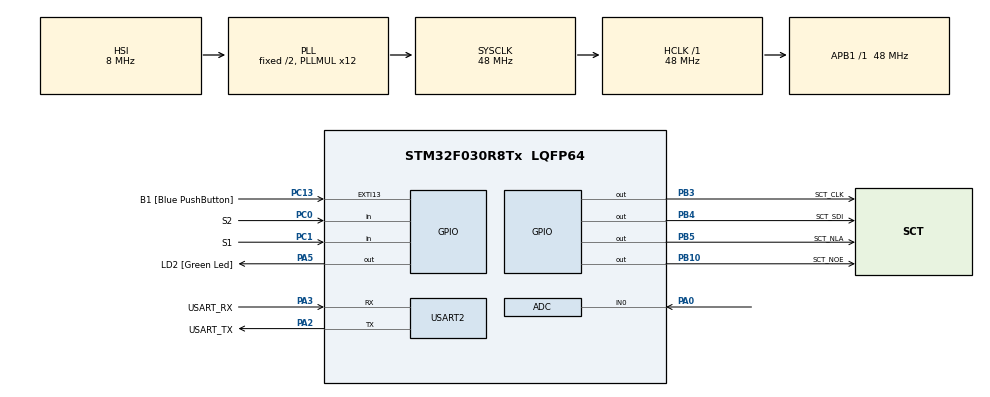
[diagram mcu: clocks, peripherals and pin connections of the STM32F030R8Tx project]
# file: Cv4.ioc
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ADC.ContinuousConvMode=ENABLE
ADC.Overrun=ADC_OVR_DATA_OVERWRITTEN
ADC.SamplingTime=ADC_SAMPLETIME_239CYCLES_5
Mcu.Family=STM32F0
Mcu.Name=STM32F030R8Tx
Mcu.Package=LQFP64
NVIC.ADC1_IRQn=true\:0\:0\:false\:false\:true\:true\:true\:true
PA0.Mode=IN0
PA0.Signal=ADC_IN0
PA13.GPIO_Label=TMS
PA13.Mode=Serial_Wire
PA13.Signal=SYS_SWDIO
PA14.GPIO_Label=TCK
PA14.Mode=Serial_Wire
PA14.Signal=SYS_SWCLK
PA2.GPIO_Label=USART_TX
PA2.GPIO_Mode=GPIO_MODE_AF_PP
PA2.GPIO_PuPd=GPIO_NOPULL
PA2.GPIO_Speed=GPIO_SPEED_FREQ_LOW
PA2.Mode=Asynchronous
PA2.Signal=USART2_TX
PA3.GPIO_Label=USART_RX
PA3.GPIO_Mode=GPIO_MODE_AF_PP
PA3.GPIO_PuPd=GPIO_NOPULL
PA3.GPIO_Speed=GPIO_SPEED_FREQ_LOW
PA3.Mode=Asynchronous
PA3.Signal=USART2_RX
PA5.GPIO_Label=LD2 [Green Led]
PA5.GPIO_Mode=GPIO_MODE_OUTPUT_PP
PA5.GPIO_PuPd=GPIO_NOPULL
PA5.GPIO_Speed=GPIO_SPEED_FREQ_LOW
PA5.Signal=GPIO_Output
PB10.GPIO_Label=SCT_NOE
PB10.Signal=GPIO_Output
PB3.GPIO_Label=SCT_CLK
PB3.Signal=GPIO_Output
PB4.GPIO_Label=SCT_SDI
PB4.Signal=GPIO_Output
PB5.GPIO_Label=SCT_NLA
PB5.Signal=GPIO_Output
PC0.GPIO_Label=S2
PC0.GPIO_PuPd=GPIO_PULLUP
PC0.Signal=GPIO_Input
PC1.GPIO_Label=S1
PC1.GPIO_PuPd=GPIO_PULLUP
PC1.Signal=GPIO_Input
PC13.GPIO_Label=B1 [Blue PushButton]
PC13.GPIO_ModeDefaultEXTI=GPIO_MODE_IT_FALLING
PC13.Signal=GPXTI13
PC14-OSC32_IN.Mode=LSE-External-Oscillator
PC14-OSC32_IN.Signal=RCC_OSC32_IN
PC15-OSC32_OUT.Mode=LSE-External-Oscillator
PC15-OSC32_OUT.Signal=RCC_OSC32_OUT
PF0-OSC_IN.Mode=HSE-External-Clock-Source
PF0-OSC_IN.Signal=RCC_OSC_IN
PF1-OSC_OUT.Signal=RCC_OSC_OUT
ProjectManager.HeapSize=0x200
ProjectManager.StackSize=0x400
ProjectManager.TargetToolchain=STM32CubeIDE
RCC.AHBFreq_Value=48000000
RCC.APB1Freq_Value=48000000
RCC.APB1TimFreq_Value=48000000
RCC.HCLKFreq_Value=48000000
RCC.PLLMUL=RCC_PLL_MUL12
RCC.SYSCLKFreq_VALUE=48000000
RCC.SYSCLKSource=RCC_SYSCLKSOURCE_PLLCLK
USART2.VirtualMode-Asynchronous=VM_ASYNC
VP_ADC_TempSens_Input.Mode=IN-TempSens
VP_ADC_Vref_Input.Mode=IN-Vrefint
board=NUCLEO-F030R8

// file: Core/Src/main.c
/* USER CODE BEGIN Header */
/**
  ******************************************************************************
  * @file           : main.c
  * @brief          : Main program body
  ******************************************************************************
  * @attention
  *
  * Copyright (c) 2023 STMicroelectronics.
  * All rights reserved.
  *
  * This software is licensed under terms that can be found in the LICENSE file
  * in the root directory of this software component.
  * If no LICENSE file comes with this software, it is provided AS-IS.
  *
  ******************************************************************************
  */
/* USER CODE END Header */
#include "main.h"

/* USER CODE BEGIN Includes */
#include "sct.h"
/* USER CODE END Includes */

ADC_HandleTypeDef hadc;

UART_HandleTypeDef huart2;

/* USER CODE BEGIN PV */
  static volatile uint32_t raw_pot;

  static volatile uint32_t raw_temp;
  static volatile uint32_t raw_volt;

/* USER CODE END PV */

void SystemClock_Config(void);
static void MX_GPIO_Init(void);
static void MX_USART2_UART_Init(void);
static void MX_ADC_Init(void);

/* USER CODE BEGIN 0 */

  void HAL_ADC_ConvCpltCallback(ADC_HandleTypeDef* hadc)
  {
	  static uint32_t channel =0;
	  static uint32_t avg_pot;

	  switch(channel) {
	  case 0:

		  raw_pot = avg_pot >> 12;
		  avg_pot -= raw_pot;
		  avg_pot += HAL_ADC_GetValue(hadc);
		  break;
	  case 1:
		  raw_temp=HAL_ADC_GetValue(hadc);

		  break;
	  case 2:
		  raw_volt=HAL_ADC_GetValue(hadc);

		  break;
	  }
	  if(__HAL_ADC_GET_FLAG(hadc, ADC_FLAG_EOS)) channel = 0;
	  else channel++;

  }

/* USER CODE END 0 */

int main(void)
{

  /* MCU Configuration--------------------------------------------------------*/

  /* Reset of all peripherals, Initializes the Flash interface and the Systick. */
  HAL_Init();

  /* Configure the system clock */
  SystemClock_Config();

  /* Initialize all configured peripherals */
  MX_GPIO_Init();
  MX_USART2_UART_Init();
  MX_ADC_Init();
  /* USER CODE BEGIN 2 */
  	  sct_init();
  	  HAL_ADCEx_Calibration_Start(&hadc);
  	  HAL_ADC_Start_IT(&hadc);

  	  /* Temperature sensor calibration value address */
#define TEMP110_CAL_ADDR ((uint16_t*) ((uint32_t) 0x1FFFF7C2))
#define TEMP30_CAL_ADDR ((uint16_t*) ((uint32_t) 0x1FFFF7B8))
  	  /* Internal voltage reference calibration value address */
#define VREFINT_CAL_ADDR ((uint16_t*) ((uint32_t) 0x1FFFF7BA))

  	  static enum { SHOW_POT, SHOW_VOLT, SHOW_TEMP } state = SHOW_POT;

  /* USER CODE END 2 */

  /* Infinite loop */
  while (1)
  {

    /* USER CODE BEGIN 3 */

	  //determine state of buttons
	  if (HAL_GPIO_ReadPin(S1_GPIO_Port,S1_Pin)==0){
		  state=SHOW_VOLT; //S1 - voltage
	  }else if(HAL_GPIO_ReadPin(S2_GPIO_Port,S2_Pin)==0) {
		  state=SHOW_TEMP; //S2 - temp
	  }

	  //state machine
	  switch(state){
	  case SHOW_POT:
		  sct_value((raw_pot*(500-1))/4096,((raw_pot*9)/4096));
		  HAL_Delay(500);
		  break;
	  case SHOW_VOLT:
		  uint32_t voltage = 330 * (*VREFINT_CAL_ADDR) / raw_volt;
		  sct_value(voltage,4);
		/*  if(HAL_GetTick()>1000){
			  state=SHOW_POT;
		  }*/
		  break;
	  case SHOW_TEMP:
		  int32_t temperature = (raw_temp - (int32_t)(*TEMP30_CAL_ADDR));
		  temperature = temperature * (int32_t)(110 - 30);
		  temperature = temperature / (int32_t)(*TEMP110_CAL_ADDR - *TEMP30_CAL_ADDR);
		  temperature = temperature + 30;
		  sct_value(temperature,7);
		/*  if(HAL_GetTick()>1000){
			  state=SHOW_POT;
		  }*/

		  break;
	  }

  }
  	  /* USER CODE END 3 */
}

void SystemClock_Config(void)
{
  RCC_OscInitTypeDef RCC_OscInitStruct = {0};
  RCC_ClkInitTypeDef RCC_ClkInitStruct = {0};

  /** Initializes the RCC Oscillators according to the specified parameters
  * in the RCC_OscInitTypeDef structure.
  */
  RCC_OscInitStruct.OscillatorType = RCC_OSCILLATORTYPE_HSI|RCC_OSCILLATORTYPE_HSI14;
  RCC_OscInitStruct.HSIState = RCC_HSI_ON;
  RCC_OscInitStruct.HSI14State = RCC_HSI14_ON;
  RCC_OscInitStruct.HSICalibrationValue = RCC_HSICALIBRATION_DEFAULT;
  RCC_OscInitStruct.HSI14CalibrationValue = 16;
  RCC_OscInitStruct.PLL.PLLState = RCC_PLL_ON;
  RCC_OscInitStruct.PLL.PLLSource = RCC_PLLSOURCE_HSI;
  RCC_OscInitStruct.PLL.PLLMUL = RCC_PLL_MUL12;
  RCC_OscInitStruct.PLL.PREDIV = RCC_PREDIV_DIV1;
  if (HAL_RCC_OscConfig(&RCC_OscInitStruct) != HAL_OK)
  {
    Error_Handler();
  }

  /** Initializes the CPU, AHB and APB buses clocks
  */
  RCC_ClkInitStruct.ClockType = RCC_CLOCKTYPE_HCLK|RCC_CLOCKTYPE_SYSCLK
                              |RCC_CLOCKTYPE_PCLK1;
  RCC_ClkInitStruct.SYSCLKSource = RCC_SYSCLKSOURCE_PLLCLK;
  RCC_ClkInitStruct.AHBCLKDivider = RCC_SYSCLK_DIV1;
  RCC_ClkInitStruct.APB1CLKDivider = RCC_HCLK_DIV1;

  if (HAL_RCC_ClockConfig(&RCC_ClkInitStruct, FLASH_LATENCY_1) != HAL_OK)
  {
    Error_Handler();
  }
}

static void MX_ADC_Init(void)
{

  ADC_ChannelConfTypeDef sConfig = {0};

  /** Configure the global features of the ADC (Clock, Resolution, Data Alignment and number of conversion)
  */
  hadc.Instance = ADC1;
  hadc.Init.ClockPrescaler = ADC_CLOCK_ASYNC_DIV1;
  hadc.Init.Resolution = ADC_RESOLUTION_12B;
  hadc.Init.DataAlign = ADC_DATAALIGN_RIGHT;
  hadc.Init.ScanConvMode = ADC_SCAN_DIRECTION_FORWARD;
  hadc.Init.EOCSelection = ADC_EOC_SINGLE_CONV;
  hadc.Init.LowPowerAutoWait = DISABLE;
  hadc.Init.LowPowerAutoPowerOff = DISABLE;
  hadc.Init.ContinuousConvMode = ENABLE;
  hadc.Init.DiscontinuousConvMode = DISABLE;
  hadc.Init.ExternalTrigConv = ADC_SOFTWARE_START;
  hadc.Init.ExternalTrigConvEdge = ADC_EXTERNALTRIGCONVEDGE_NONE;
  hadc.Init.DMAContinuousRequests = DISABLE;
  hadc.Init.Overrun = ADC_OVR_DATA_OVERWRITTEN;
  if (HAL_ADC_Init(&hadc) != HAL_OK)
  {
    Error_Handler();
  }

  /** Configure for the selected ADC regular channel to be converted.
  */
  sConfig.Channel = ADC_CHANNEL_0;
  sConfig.Rank = ADC_RANK_CHANNEL_NUMBER;
  sConfig.SamplingTime = ADC_SAMPLETIME_239CYCLES_5;
  if (HAL_ADC_ConfigChannel(&hadc, &sConfig) != HAL_OK)
  {
    Error_Handler();
  }

  /** Configure for the selected ADC regular channel to be converted.
  */
  sConfig.Channel = ADC_CHANNEL_TEMPSENSOR;
  if (HAL_ADC_ConfigChannel(&hadc, &sConfig) != HAL_OK)
  {
    Error_Handler();
  }

  /** Configure for the selected ADC regular channel to be converted.
  */
  sConfig.Channel = ADC_CHANNEL_VREFINT;
  if (HAL_ADC_ConfigChannel(&hadc, &sConfig) != HAL_OK)
  {
    Error_Handler();
  }

}

static void MX_USART2_UART_Init(void)
{

  huart2.Instance = USART2;
  huart2.Init.BaudRate = 38400;
  huart2.Init.WordLength = UART_WORDLENGTH_8B;
  huart2.Init.StopBits = UART_STOPBITS_1;
  huart2.Init.Parity = UART_PARITY_NONE;
  huart2.Init.Mode = UART_MODE_TX_RX;
  huart2.Init.HwFlowCtl = UART_HWCONTROL_NONE;
  huart2.Init.OverSampling = UART_OVERSAMPLING_16;
  huart2.Init.OneBitSampling = UART_ONE_BIT_SAMPLE_DISABLE;
  huart2.AdvancedInit.AdvFeatureInit = UART_ADVFEATURE_NO_INIT;
  if (HAL_UART_Init(&huart2) != HAL_OK)
  {
    Error_Handler();
  }

}

static void MX_GPIO_Init(void)
{
  GPIO_InitTypeDef GPIO_InitStruct = {0};

  /* GPIO Ports Clock Enable */
  __HAL_RCC_GPIOC_CLK_ENABLE();
  __HAL_RCC_GPIOF_CLK_ENABLE();
  __HAL_RCC_GPIOA_CLK_ENABLE();
  __HAL_RCC_GPIOB_CLK_ENABLE();

  /*Configure GPIO pin Output Level */
  HAL_GPIO_WritePin(LD2_GPIO_Port, LD2_Pin, GPIO_PIN_RESET);

  /*Configure GPIO pin Output Level */
  HAL_GPIO_WritePin(GPIOB, SCT_NOE_Pin|SCT_CLK_Pin|SCT_SDI_Pin|SCT_NLA_Pin, GPIO_PIN_RESET);

  /*Configure GPIO pin : B1_Pin */
  GPIO_InitStruct.Pin = B1_Pin;
  GPIO_InitStruct.Mode = GPIO_MODE_IT_FALLING;
  GPIO_InitStruct.Pull = GPIO_NOPULL;
  HAL_GPIO_Init(B1_GPIO_Port, &GPIO_InitStruct);

  /*Configure GPIO pins : S2_Pin S1_Pin */
  GPIO_InitStruct.Pin = S2_Pin|S1_Pin;
  GPIO_InitStruct.Mode = GPIO_MODE_INPUT;
  GPIO_InitStruct.Pull = GPIO_PULLUP;
  HAL_GPIO_Init(GPIOC, &GPIO_InitStruct);

  /*Configure GPIO pin : LD2_Pin */
  GPIO_InitStruct.Pin = LD2_Pin;
  GPIO_InitStruct.Mode = GPIO_MODE_OUTPUT_PP;
  GPIO_InitStruct.Pull = GPIO_NOPULL;
  GPIO_InitStruct.Speed = GPIO_SPEED_FREQ_LOW;
  HAL_GPIO_Init(LD2_GPIO_Port, &GPIO_InitStruct);

  /*Configure GPIO pins : SCT_NOE_Pin SCT_CLK_Pin SCT_SDI_Pin SCT_NLA_Pin */
  GPIO_InitStruct.Pin = SCT_NOE_Pin|SCT_CLK_Pin|SCT_SDI_Pin|SCT_NLA_Pin;
  GPIO_InitStruct.Mode = GPIO_MODE_OUTPUT_PP;
  GPIO_InitStruct.Pull = GPIO_NOPULL;
  GPIO_InitStruct.Speed = GPIO_SPEED_FREQ_LOW;
  HAL_GPIO_Init(GPIOB, &GPIO_InitStruct);

}

void Error_Handler(void)
{
  __disable_irq();
  while (1)
  {
  }
}
